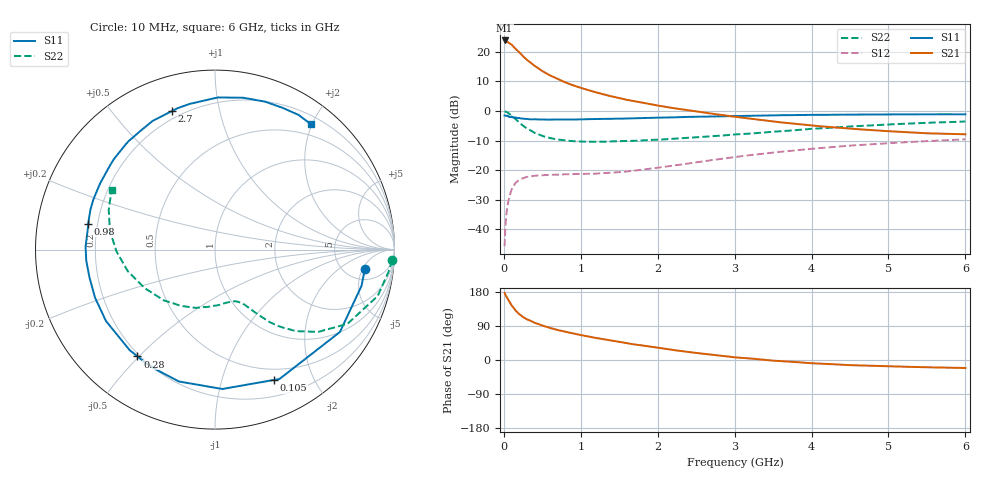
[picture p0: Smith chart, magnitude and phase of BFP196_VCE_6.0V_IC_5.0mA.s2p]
! Infineon Technologies  Discrete & RF Semiconductors
! BFP196
! VCE = 6.0 V,  IC = 5.0mA
! Common Emitter S-Parameters:  Jan 2016
# GHz  S  MA  R  50
!  f  S11  S21  S12  S22
! GHz  MAG  ANG  MAG  ANG  MAG  ANG  MAG  ANG
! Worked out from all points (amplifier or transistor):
!   210 points, 10 MHz to 6 GHz, reference 50 ohm
!   highest |S21| = 23.8 dB at 10 MHz (marker M1)
!   |S21| within 3 dB of that: start of sweep to 159.3 MHz
!   unconditionally stable (mu >= 1): 1.146 GHz to 3.321 GHz
!   at 185 MHz: K = 0.19, MSG = 21.9 dB, |S12| = -23.6 dB
!   at 1.52 GHz: K = 1.19, MAG = 9.8 dB, |S12| = -20.6 dB
!   at 6 GHz: K = 0.99, MSG = 0.8 dB, |S12| = -9.6 dB
!   S11 on the Smith chart (normalised r, x): 10 MHz: 7.61, -5.52; 105 MHz: 0.37, -1.48; 280 MHz: 0.19, -0.49; 980 MHz: 0.16, +0.10; 2.7 GHz: 0.16, +0.72; 6 GHz: 0.32, +1.98
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0.01  0.842 -7.2  15.56 177.1  0.0052 90.1  0.9868 -3.4
0.02  0.841 -13.9  15.15 171.9  0.0111 80.2  0.979 -6.5
0.05  0.8338 -33.4  14.73 161.0  0.0265 73.1  0.9429 -15.9
0.1  0.8054 -63.5  13.27 144.4  0.0468 58.9  0.846 -29.3
0.105  0.7968 -65.7  13.05 143.2  0.0481 57.5  0.8341 -30.1
0.15  0.7777 -87.0  11.32 131.0  0.0605 47.9  0.7359 -38.5
0.2  0.7618 -105.3  9.818 121.0  0.0686 40.1  0.6407 -45.2
0.24  0.7442 -116.7  8.665 114.9  0.0724 35.5  0.5772 -48.9
0.28  0.7355 -126.0  7.73 109.8  0.0755 32.3  0.5292 -51.6
0.3  0.7347 -130.4  7.303 107.2  0.077 30.9  0.5078 -52.9
0.4  0.7261 -146.8  5.796 98.2  0.0808 26.1  0.4276 -56.8
0.5  0.72 -158.2  4.724 90.7  0.082 23.5  0.3777 -59.6
0.7  0.7198 -175.0  3.463 79.1  0.0841 21.7  0.3302 -64.0
0.98  0.7206 168.4  2.51 66.7  0.086 22.9  0.3055 -70.7
1.02  0.723 166.4  2.417 65.1  0.0862 23.3  0.3043 -71.8
1.4  0.7389 149.7  1.765 51.1  0.0905 28.3  0.3071 -82.5
2.02  0.773 127.9  1.225 31.8  0.1112 37.2  0.3278 -102.5
2.7  0.8079 107.4  0.904 14.1  0.1477 40.0  0.3735 -125.2
3.1  0.8262 97.7  0.771 5.6  0.1732 37.9  0.4077 -138.6
4.1  0.8612 77.7  0.554 -9.4  0.2355 28.6  0.5077 -168.7
5.1  0.8758 63.2  0.449 -17.2  0.2908 16.2  0.6007 167.7
6  0.8793 52.6  0.404 -21.1  0.3323 4.5  0.665 150.0
